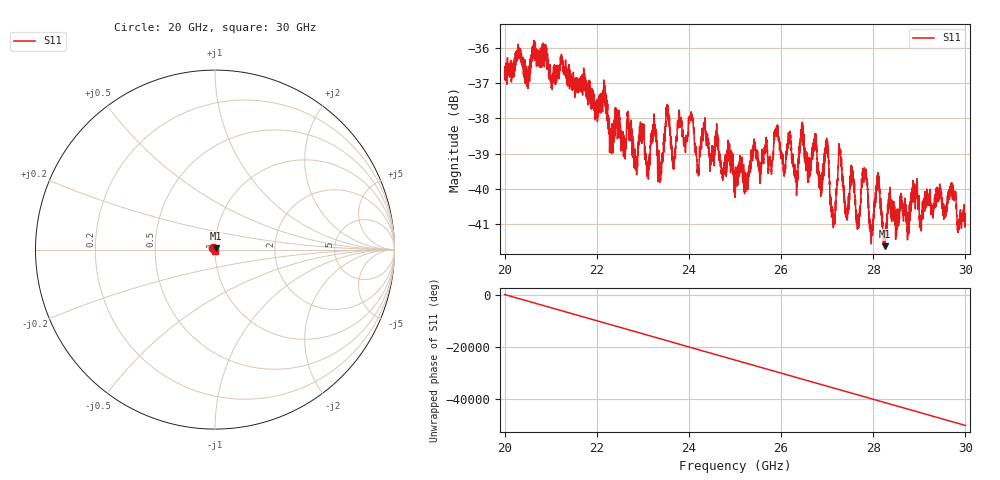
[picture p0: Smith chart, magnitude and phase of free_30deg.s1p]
#  HZ  S  RI  R  50.00
! Rohde & Schwarz ZVA40 4Ports - Version 3.90 - 1145.1110k42 SN: 100403
! Date: 2023-09-28 10:09:55
! Measurement: S12
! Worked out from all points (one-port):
!   5001 points, 20 GHz to 30 GHz, reference 50 ohm
!   lowest |S11| = -41.6 dB at 28.25 GHz (marker M1), VSWR 1.02, Z = 50.5 + j0.646 ohm
!   |S11| at or under -10 dB: start of sweep to end of sweep
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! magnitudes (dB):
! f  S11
! 20 GHz  -36.8
! 21.25 GHz  -36.4
! 22.5 GHz  -38.0
! 23.1 GHz  -39.6
! 23.25 GHz  -38.1
! 23.37 GHz  -39.6
! 23.53 GHz  -37.8
! 23.66 GHz  -39.4
! 23.75 GHz  -38.2
! 25 GHz  -40.2
! 25.77 GHz  -39.2
! 25.89 GHz  -38.3
! 26.25 GHz  -39.1
! 26.73 GHz  -38.6
! 26.86 GHz  -40.2
! 26.99 GHz  -38.7
! 27.14 GHz  -41.0
! 27.27 GHz  -38.9
! 27.41 GHz  -40.8
! 27.5 GHz  -39.6
! 27.67 GHz  -41.0
! 27.82 GHz  -39.7
! 27.96 GHz  -41.5
! 28.11 GHz  -39.8
! 28.25 GHz  -41.6
! 28.75 GHz  -41.3
! 28.91 GHz  -40.2
! 30 GHz  -40.7
